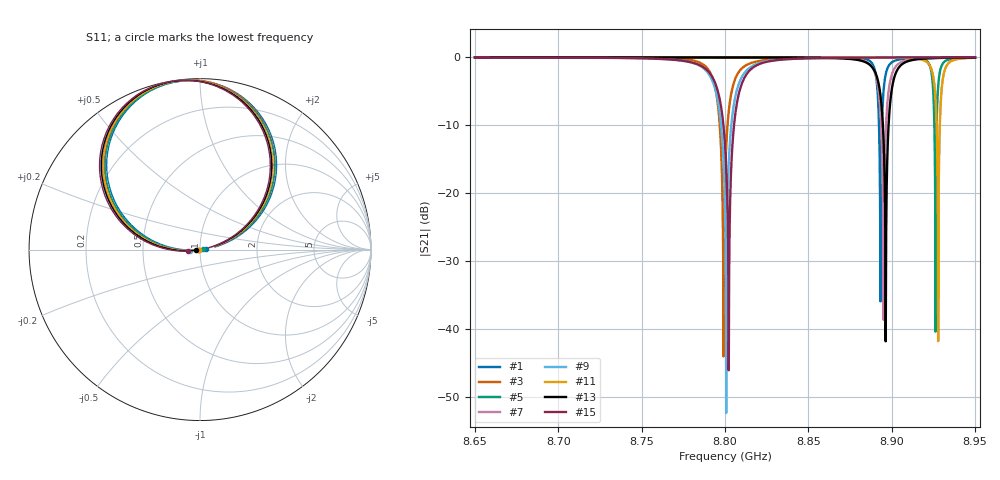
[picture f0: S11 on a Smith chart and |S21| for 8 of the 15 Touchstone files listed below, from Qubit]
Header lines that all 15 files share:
! Sonnet Data File
! From: emgraph Version : 16.52
! From Project: transmon_trial
! Data is De-embedded
!< HDATE 10/19/2017 20:03:37
!< MDATE 10/19/2017 20:10:25
!< PARAMS
!< END PARAMS
# GHZ S MA R 51.00000
Fixed: Lj = 15.24, Pwidth = 2000.0
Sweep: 8.65 GHz to 8.95 GHz
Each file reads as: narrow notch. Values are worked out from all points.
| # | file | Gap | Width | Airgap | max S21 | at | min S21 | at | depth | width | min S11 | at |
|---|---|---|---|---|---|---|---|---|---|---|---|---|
| 1 | Teven_W10_gp16.s2p | 16.0 | 10.0 | 6.0 | 0.00 dB | 8.836 GHz | -35.9 dB | 8.8933 GHz | 35.9 dB | 678 kHz | -77.1 dB | 8.8374 GHz |
| 2 | Teven_W10_gp26.s2p | 26.0 | 10.0 | 6.0 | 0.00 dB | 8.8989 GHz | -32.1 dB | 8.9255 GHz | 32.1 dB | 437 kHz | -73.8 dB | 8.8993 GHz |
| 3 | Teven_W10_gpo6.s2p | 6.0 | 10.0 | 6.0 | 0.00 dB | 8.65 GHz | -44.0 dB | 8.7991 GHz | 43.9 dB | 1.11 MHz | -44.9 dB | 8.65 GHz |
| 4 | Teven_W20_gp16.s2p | 16.0 | 20.0 | 12.0 | 0.00 dB | 8.6996 GHz | -38.1 dB | 8.8939 GHz | 38.1 dB | 836 kHz | -87.5 dB | 8.7084 GHz |
| 5 | Teven_W20_gp26.s2p | 26.0 | 20.0 | 12.0 | 0.00 dB | 8.8395 GHz | -40.3 dB | 8.9263 GHz | 40.3 dB | 404 kHz | -81.2 dB | 8.8425 GHz |
| 6 | Teven_W20_gpo6.s2p | 6.0 | 20.0 | 12.0 | -0.01 dB | 8.65 GHz | -53.3 dB | 8.8004 GHz | 53.3 dB | 791 kHz | -27.5 dB | 8.65 GHz |
| 7 | Teven_W30_gp16.s2p | 16.0 | 30.0 | 18.0 | 0.00 dB | 8.65 GHz | -38.6 dB | 8.8951 GHz | 38.6 dB | 954 kHz | -39.9 dB | 8.65 GHz |
| 8 | Teven_W30_gp26.s2p | 26.0 | 30.0 | 18.0 | 0.00 dB | 8.7171 GHz | -35.3 dB | 8.9268 GHz | 35.3 dB | 667 kHz | -89.4 dB | 8.7153 GHz |
| 9 | Teven_W30_gpo6.s2p | 6.0 | 30.0 | 18.0 | -0.02 dB | 8.65 GHz | -52.3 dB | 8.8007 GHz | 52.2 dB | 905 kHz | -24.6 dB | 8.65 GHz |
| 10 | Teven_W40_gp16.s2p | 16.0 | 40.0 | 24.0 | 0.00 dB | 8.65 GHz | -41.2 dB | 8.8963 GHz | 41.2 dB | 902 kHz | -34.3 dB | 8.65 GHz |
| 11 | Teven_W40_gp26.s2p | 26.0 | 40.0 | 24.0 | 0.00 dB | 8.6503 GHz | -41.7 dB | 8.9279 GHz | 41.7 dB | 530 kHz | -44.5 dB | 8.65 GHz |
| 12 | Teven_W40_gpo6.s2p | 6.0 | 40.0 | 24.0 | -0.01 dB | 8.95 GHz | -49.0 dB | 8.8012 GHz | 48.9 dB | 1.13 MHz | -24.8 dB | 8.95 GHz |
| 13 | Teven_W50_gp16.s2p | 16.0 | 50.0 | 30.0 | 0.00 dB | 8.65 GHz | -41.8 dB | 8.8964 GHz | 41.7 dB | 927 kHz | -31.7 dB | 8.65 GHz |
| 14 | Teven_W50_gp26.s2p | 26.0 | 50.0 | 30.0 | 0.00 dB | 8.65 GHz | -39.6 dB | 8.9297 GHz | 39.6 dB | 657 kHz | -38.0 dB | 8.65 GHz |
| 15 | Teven_W50_gpo6.s2p | 6.0 | 50.0 | 30.0 | -0.01 dB | 8.95 GHz | -46.0 dB | 8.8022 GHz | 46.0 dB | 1.35 MHz | -25.4 dB | 8.95 GHz |
